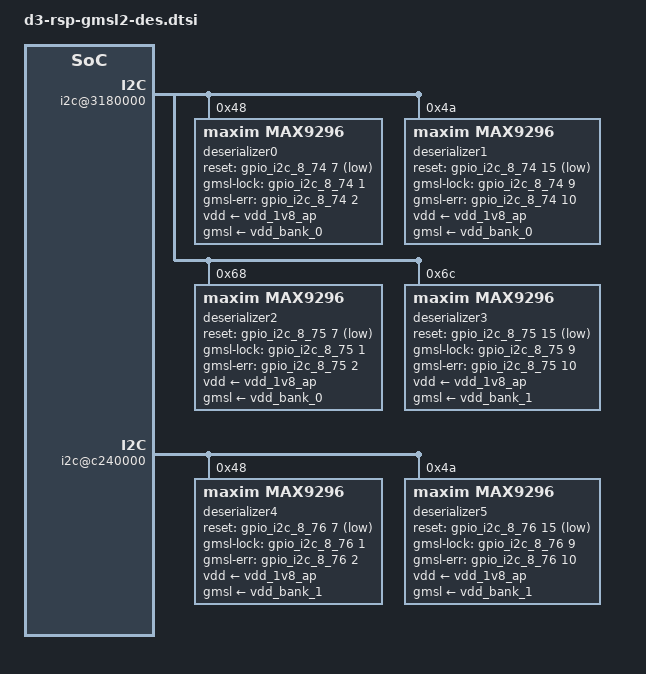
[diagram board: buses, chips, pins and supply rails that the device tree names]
/*
 * Copyright (c) 2018-2019, D3 Engineering. All rights reserved.
 *
 * This program is free software; you can redistribute it and/or modify
 * it under the terms of the GNU General Public License as published by
 * the Free Software Foundation; version 2 of the License.
 *
 * This program is distributed in the hope that it will be useful, but WITHOUT
 * ANY WARRANTY; without even the implied warranty of MERCHANTABILITY or
 * FITNESS FOR A PARTICULAR PURPOSE.  See the GNU General Public License for
 * more details.
 */

/ {
	/* I2C_CAM, DT alias i2c2 (clock: C6, data: D6) */
	i2c@3180000 {
		deserializer0: deserializer@48 {
			status = "okay";
			compatible = "maxim,max9296";
			reg = <0x48>;
			#address-cells = <1>;
			#size-cells = <0>;
			vdd-supply = <&vdd_1v8_ap>;
			gmsl-supply = <&vdd_bank_0>;
			reset-gpios = <&gpio_i2c_8_74 7 GPIO_ACTIVE_LOW>;
			gmsl-lock-gpios = <&gpio_i2c_8_74 1 GPIO_ACTIVE_HIGH>;
			gmsl-err-gpios = <&gpio_i2c_8_74 2 GPIO_ACTIVE_HIGH>;
			csi-tx-speed-mbps = <1600>;
			csi-lane-count = <2>;
			csi-continuous-clock = <1>;
			/* interrupt-parent = <&gpio_i2c_8_74>; */
			/* interrupts = <1 IRQ_TYPE_EDGE_BOTH 2 IRQ_TYPE_EDGE_BOTH>; */
			/* Both serializers will be set to these bit rates.
			 * The rates need to be specified ONLY when the
			 * serializers come out of reset with rates that are
			 * different than the default values.
			 * default-forward = 6000 MHz, default-back = 197.5 MHz.
			 * Valid rates:
			 *   forward: 1500, 3000, 6000
			 *   back: 187, 375, 750, 1500
			 */
			gmsl-bit-rates = <3000 187>;
			ser-addr = <0x41 0x40>;
			img-addr = <0x11 0x10>;

			gmsl_link0: link@0 {
				reg = <0>;
				#address-cells = <1>;
				#size-cells = <0>;
			};
		};
		deserializer1: deserializer@4a {
			status = "okay";
			compatible = "maxim,max9296";
			reg = <0x4a>;
			#address-cells = <1>;
			#size-cells = <0>;
			vdd-supply = <&vdd_1v8_ap>;
			gmsl-supply = <&vdd_bank_0>;
			reset-gpios = <&gpio_i2c_8_74 15 GPIO_ACTIVE_LOW>;
			gmsl-lock-gpios = <&gpio_i2c_8_74 9 GPIO_ACTIVE_HIGH>;
			gmsl-err-gpios = <&gpio_i2c_8_74 10 GPIO_ACTIVE_HIGH>;
			csi-tx-speed-mbps = <1600>;
			csi-lane-count = <2>;
			csi-continuous-clock = <1>;
			/* interrupt-parent = <&gpio_i2c_8_74>; */
			/* interrupts = <9 IRQ_TYPE_EDGE_BOTH 0xa IRQ_TYPE_EDGE_BOTH>; */
			gmsl-bit-rates = <3000 187>;
			ser-addr = <0x42 0x40>;
			img-addr = <0x12 0x10>;

			gmsl_link1: link@0 {
				reg = <0>;
				#address-cells = <1>;
				#size-cells = <0>;
			};
		};
		deserializer2: deserializer@68 {
			status = "okay";
			compatible = "maxim,max9296";
			reg = <0x68>;
			#address-cells = <1>;
			#size-cells = <0>;
			vdd-supply = <&vdd_1v8_ap>;
			gmsl-supply = <&vdd_bank_0>;
			reset-gpios = <&gpio_i2c_8_75 7 GPIO_ACTIVE_LOW>;
			gmsl-lock-gpios = <&gpio_i2c_8_75 1 GPIO_ACTIVE_HIGH>;
			gmsl-err-gpios = <&gpio_i2c_8_75 2 GPIO_ACTIVE_HIGH>;
			csi-tx-speed-mbps = <1600>;
			csi-lane-count = <2>;
			csi-continuous-clock = <1>;
			/* interrupt-parent = <&gpio_i2c_8_75>; */
			/* interrupts = <1 IRQ_TYPE_EDGE_BOTH 2 IRQ_TYPE_EDGE_BOTH>; */
			ser-addr = <0x43 0x40>;
			img-addr = <0x13 0x10>;

			gmsl_link2: link@0 {
				reg = <0>;
				#address-cells = <1>;
				#size-cells = <0>;
			};
		};
		deserializer3: deserializer@6c {
			status = "okay";
			compatible = "maxim,max9296";
			reg = <0x6c>;
			#address-cells = <1>;
			#size-cells = <0>;
			vdd-supply = <&vdd_1v8_ap>;
			gmsl-supply = <&vdd_bank_1>;
			reset-gpios = <&gpio_i2c_8_75 15 GPIO_ACTIVE_LOW>;
			gmsl-lock-gpios = <&gpio_i2c_8_75 9 GPIO_ACTIVE_HIGH>;
			gmsl-err-gpios = <&gpio_i2c_8_75 10 GPIO_ACTIVE_HIGH>;
			csi-tx-speed-mbps = <1600>;
			csi-lane-count = <2>;
			csi-continuous-clock = <1>;
			/* interrupt-parent = <&gpio_i2c_8_75>; */
			/* interrupts = <9 IRQ_TYPE_EDGE_BOTH 0xa IRQ_TYPE_EDGE_BOTH>; */
			ser-addr = <0x44 0x40>;
			img-addr = <0x14 0x10>;

			gmsl_link3: link@0 {
				reg = <0>;
				#address-cells = <1>;
				#size-cells = <0>;
			};
		};
	};

	/* I2C_GP0, DT alias: i2c1 (clock: E15, data: D15) */
	i2c@c240000 {
		deserializer4: deserializer@48 {
			status = "okay";
			compatible = "maxim,max9296";
			reg = <0x48>;
			#address-cells = <1>;
			#size-cells = <0>;
			vdd-supply = <&vdd_1v8_ap>;
			gmsl-supply = <&vdd_bank_1>;
			reset-gpios = <&gpio_i2c_8_76 7 GPIO_ACTIVE_LOW>;
			gmsl-lock-gpios = <&gpio_i2c_8_76 1 GPIO_ACTIVE_HIGH>;
			gmsl-err-gpios = <&gpio_i2c_8_76 2 GPIO_ACTIVE_HIGH>;
			csi-tx-speed-mbps = <1600>;
			csi-lane-count = <2>;
			csi-continuous-clock = <1>;
			/* interrupt-parent = <&gpio_i2c_8_76>; */
			/* interrupts = <1 IRQ_TYPE_EDGE_BOTH 2 IRQ_TYPE_EDGE_BOTH>; */
			//gmsl-bit-rates = <6000 187>;
			ser-addr = <0x45 0x40>;
			img-addr = <0x15 0x10>;

			gmsl_link4: link@0 {
				reg = <0>;
				#address-cells = <1>;
				#size-cells = <0>;
			};
		};
		deserializer5: deserializer@4a {
			status = "okay";
			compatible = "maxim,max9296";
			reg = <0x4a>;
			#address-cells = <1>;
			#size-cells = <0>;
			vdd-supply = <&vdd_1v8_ap>;
			gmsl-supply = <&vdd_bank_1>;
			reset-gpios = <&gpio_i2c_8_76 15 GPIO_ACTIVE_LOW>;
			gmsl-lock-gpios = <&gpio_i2c_8_76 9 GPIO_ACTIVE_HIGH>;
			gmsl-err-gpios = <&gpio_i2c_8_76 10 GPIO_ACTIVE_HIGH>;
			csi-tx-speed-mbps = <1600>;
			csi-lane-count = <2>;
			csi-continuous-clock = <1>;
			/* interrupt-parent = <&gpio_i2c_8_76>; */
			/* interrupts = <9 IRQ_TYPE_EDGE_BOTH 0xa IRQ_TYPE_EDGE_BOTH>; */
			ser-addr = <0x46 0x40>;
			img-addr = <0x16 0x10>;

			gmsl_link5: link@0 {
				reg = <0>;
				#address-cells = <1>;
				#size-cells = <0>;
			};
		};
	};
};
